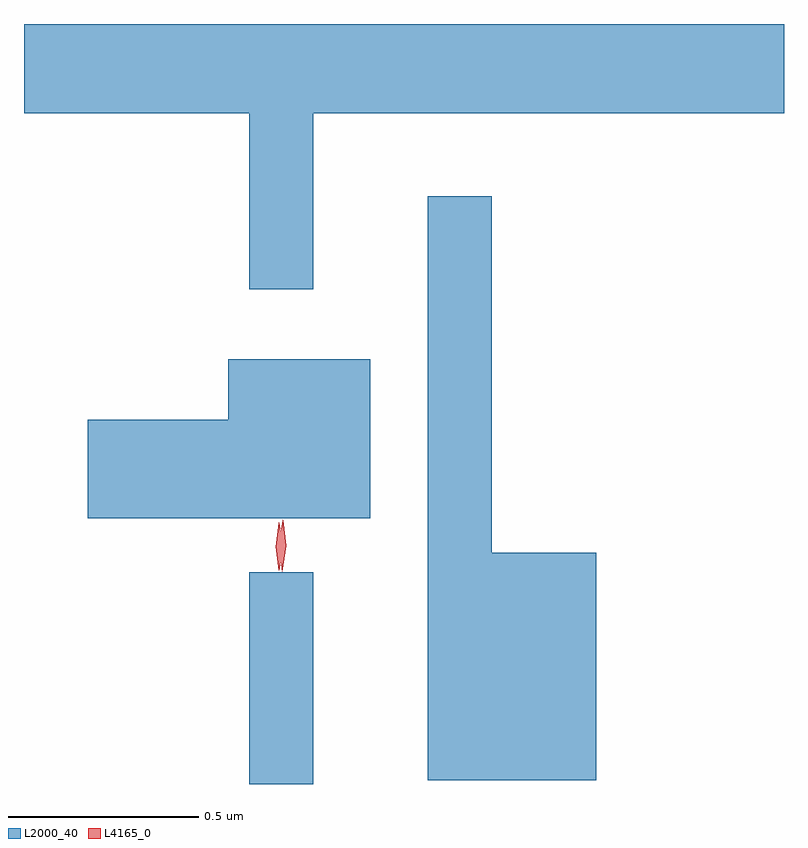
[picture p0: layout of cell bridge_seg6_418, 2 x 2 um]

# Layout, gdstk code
import gdstk
lib = gdstk.Library(unit=1e-6, precision=1e-09)
def R(c, l, rs):  # rectangles x0, y0, x1, y1
    for r in rs: c.add(gdstk.rectangle(r[:2], r[2:], *l))
def P(c, l, *ps):  # polygons
    for p in ps: c.add(gdstk.Polygon(p, *l))
L2000_40 = (2000, 40)
L4165_0 = (4165, 0)

bridge_seg6_418 = lib.new_cell('bridge_seg6_418')
R(bridge_seg6_418, L2000_40, [(923.901,1661.491,924.069,1662.048)])
P(bridge_seg6_418, L2000_40, [(924.069,1663.256),(925.308,1663.256),(925.308,1663.491),(923.308,1663.491),(923.308,1663.256),(923.901,1663.256),(923.901,1662.793),(924.069,1662.793)],
  [(924.814,1662.099),(924.539,1662.099),(924.539,1663.038),(924.371,1663.038),(924.371,1661.501),(924.814,1661.501)],
  [(924.219,1662.609),(923.846,1662.609),(923.846,1662.449),(923.476,1662.449),(923.476,1662.191),(924.219,1662.191)])
P(bridge_seg6_418, L4165_0, [(923.987,1662.05),(923.979,1662.118),(923.989,1662.185),(923.989,1662.186),(923.99,1662.185),(923.998,1662.118),(923.988,1662.05),(923.988,1662.05)],
  [(923.979,1662.053),(923.97,1662.116),(923.979,1662.179),(923.979,1662.18),(923.98,1662.179),(923.99,1662.116),(923.98,1662.053),(923.98,1662.053)])

lib.write_gds('bridge_seg6_418.gds')
